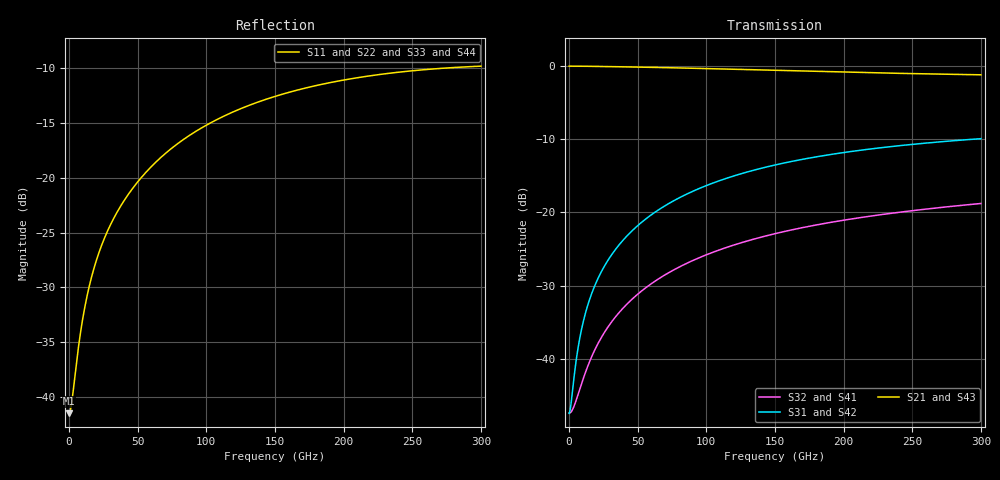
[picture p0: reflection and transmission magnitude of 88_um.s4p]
! Created with skrf (http://scikit-rf.org).
# Hz S RI R 50.0
!freq ReS11 ImS11 ReS12 ImS12 ReS13 ImS13
! ReS14 ImS14
! ReS21 ImS21 ReS22 ImS22 ReS23 ImS23
! ReS24 ImS24
! ReS31 ImS31 ReS32 ImS32 ReS33 ImS33
! ReS34 ImS34
! ReS41 ImS41 ReS42 ImS42 ReS43 ImS43
! ReS44 ImS44
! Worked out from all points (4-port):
!   3000 points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, 100 MHz to 300 GHz, reference 50 ohm
!   strongest paths, dB at 100 MHz, 75.1 GHz, 150.1 GHz, 225.1 GHz, 300 GHz:
!     S21: -0.1, -0.3, -0.6, -1.0, -1.2
!     S43: -0.1, -0.3, -0.6, -1.0, -1.2
!     S31: -47.4, -18.5, -13.5, -11.2, -10.0
!     S42: -47.4, -18.5, -13.5, -11.2, -10.0
!     S32: -47.4, -28.0, -22.9, -20.4, -18.8
!     S41: -47.4, -28.0, -22.9, -20.4, -18.8
!   lowest |S11| = -41.5 dB at 100 MHz (marker M1), VSWR 1.02, Z = 50.9 + j0.021 ohm
!   |S11| at or under -10 dB: start of sweep to 277.5 GHz
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1e8  0.00845 0.000206  0.9916 -0.000492  0.00427 0.000166  -0.00428 -5.3e-05
     0.9916 -0.000492  0.0085 0.000205  -0.00428 -5.27e-05  0.00428 0.000166
     0.00427 0.000166  -0.00428 -5.3e-05  0.00847 0.000206  0.9916 -0.000492
     -0.00428 -5.27e-05  0.00428 0.000166  0.9916 -0.000492  0.0085 0.000205
9.1e9  0.0099 0.0186  0.9897 -0.0445  0.00509 0.0151  -0.00481 -0.00477
       0.9897 -0.0446  0.00992 0.0184  -0.00481 -0.00475  0.00509 0.015
       0.00509 0.0151  -0.00481 -0.00477  0.00991 0.0185  0.9897 -0.0445
       -0.00481 -0.00475  0.00509 0.015  0.9897 -0.0446  0.00992 0.0184
1.98e10  0.0147 0.039  0.9834 -0.0955  0.00802 0.0323  -0.00671 -0.01
         0.9833 -0.0955  0.0147 0.0388  -0.0067 -0.00999  0.008 0.0323
         0.00802 0.0323  -0.00671 -0.01  0.0147 0.039  0.9834 -0.0955
         -0.0067 -0.00999  0.008 0.0323  0.9834 -0.0955  0.0147 0.0388
3.8e10  0.0273 0.0697  0.9658 -0.1777  0.0172 0.0601  -0.0125 -0.0176
        0.9658 -0.1777  0.0272 0.0694  -0.0125 -0.0175  0.0171 0.06
        0.0172 0.0601  -0.0125 -0.0176  0.0273 0.0697  0.9658 -0.1777
        -0.0125 -0.0175  0.0171 0.06  0.9658 -0.1777  0.0272 0.0694
6.47e10  0.0527 0.1077  0.9273 -0.291  0.0388 0.0958  -0.0252 -0.0242
         0.9272 -0.2909  0.0526 0.1072  -0.0252 -0.0241  0.0387 0.0956
         0.0388 0.0958  -0.0252 -0.0242  0.0527 0.1077  0.9273 -0.291
         -0.0252 -0.0241  0.0387 0.0956  0.9272 -0.2909  0.0526 0.1072
1.557e11  0.1734 0.1659  0.711 -0.5934  0.1505 0.1551  -0.0737 0.00157
          0.711 -0.593  0.1729 0.1651  -0.0734 0.00187  0.15 0.1552
          0.1505 0.1551  -0.0737 0.00157  0.1734 0.1659  0.711 -0.5934
          -0.0734 0.00187  0.15 0.1552  0.7109 -0.593  0.1729 0.1651
3e11  0.3089 0.0893  0.2712 -0.8232  0.3032 0.0954  -0.0431 0.1066
      0.272 -0.8222  0.3084 0.0883  -0.0424 0.1067  0.3029 0.0961
      0.3032 0.0954  -0.0431 0.1066  0.3089 0.0893  0.2712 -0.8232
      -0.0424 0.1067  0.3029 0.0961  0.2719 -0.8223  0.3084 0.0883
